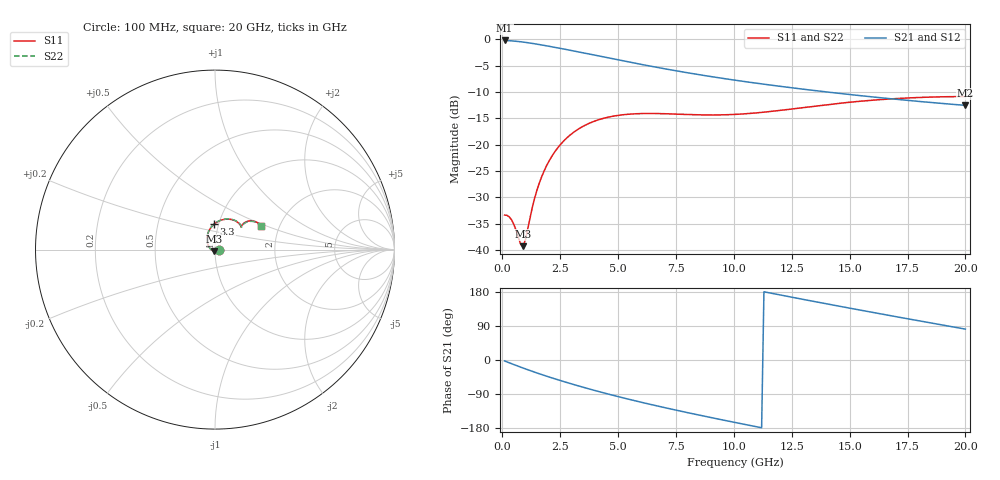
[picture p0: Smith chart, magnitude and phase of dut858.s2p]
! Touchstone file exported from HFSS 2024.1.0
!  File:  C:/UserFiles/LocalFiles/RDL_TSV_Batchsim/temp_RDL_TSV_858_1779924747.aedt
!  Generated:  07:48:22 AM May 28, 2026
!  Design:  RDL_TSV
!  Project:  temp_RDL_TSV_858_1779924747
!  Setup:  Setup1
!  Solution:  Sweep
! Variables:
!  dtsv = 13.11um
!  hbump = 3um
!  htsv = 91.13um
!  ldown = 679.86um
!  lrdl = 468.39um
!  p = 40
!  p1 = 45.71um
!  rhole = 10um
!  subl = 3913.14um
!  t = 450um
!  tdown = 2.6um
!  trdl = 4.34um
!  viad = 10um
!  wdown = 18.28um
!  wrdl = 24.45um
!  xbump = 18um
# GHz S MA R 50.000000
! Terminal data exported
! Port[1] = TM1_1_T1
! Port[2] = TM1_4_T1
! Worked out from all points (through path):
!   200 points, 100 MHz to 20 GHz, reference 50 ohm
!   highest |S21| = -0.20 dB at 100 MHz (marker M1); lowest = -12.5 dB at 20 GHz (marker M2)
!   group delay of S21, straight-line fit = 36.7 ps
!   lowest |S11| = -39.3 dB at 900 MHz (marker M3), VSWR 1.02, Z = 49.5 - j0.978 ohm
!   |S11| at or under -10 dB: start of sweep to end of sweep
!   |S22| runs from -39.3 to -10.9 dB; largest |S21 - S12| = 8.8e-15
!   S11 on the Smith chart (normalised r, x): 100 MHz: 1.04, -0.00; 3.3 GHz: 0.95, +0.27; 20 GHz: 1.60, +0.46
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0.1  0.02146 -4.4  0.9777 -2.5  0.9777 -2.5  0.02146 -4.4
! Gamma 0 0 0 0
! Port Impedance 50 0 50 0
0.4  0.01933 -25.3  0.9691 -9.7  0.9691 -9.7  0.01933 -25.3
0.8  0.01122 -86.2  0.9498 -19.0  0.9498 -19.0  0.01122 -86.4
0.9  0.01086 -114.7  0.9438 -21.3  0.9438 -21.3  0.01088 -114.8
1  0.01251 -142.4  0.9375 -23.5  0.9375 -23.5  0.01255 -142.5
1.4  0.03121 162.2  0.9092 -32.2  0.9092 -32.2  0.03131 162.2
1.6  0.04327 149.1  0.8939 -36.4  0.8939 -36.4  0.0434 149.1
1.9  0.06227 134.5  0.8704 -42.5  0.8704 -42.5  0.06246 134.6
2.5  0.09961 113.1  0.8227 -54.1  0.8227 -54.1  0.09993 113.2
3.3  0.1415 92.1  0.7605 -68.6  0.7605 -68.6  0.142 92.2
3.5  0.15 87.7  0.7454 -72.1  0.7454 -72.1  0.1506 87.8
4.2  0.1737 74.4  0.6943 -83.8  0.6943 -83.8  0.1745 74.5
5.1  0.1911 61.3  0.6335 -98.1  0.6335 -98.1  0.1922 61.3
5.9  0.1972 52.7  0.5849 -110.0  0.5849 -110.0  0.1985 52.6
6.8  0.1974 46.0  0.5367 -122.8  0.5367 -122.8  0.199 45.9
8.3  0.1926 40.9  0.4701 -142.8  0.4701 -142.8  0.1943 40.6
10.1  0.1942 41.1  0.4085 -165.4  0.4085 -165.4  0.1956 40.5
11.8  0.2093 42.4  0.3632 174.0  0.3632 174.0  0.21 41.7
13.4  0.231 41.8  0.3285 155.2  0.3285 155.2  0.2311 41.1
15  0.253 39.3  0.2997 136.8  0.2997 136.8  0.2526 38.6
16.7  0.2715 35.3  0.2741 117.7  0.2741 117.7  0.2707 34.7
20  0.2869 27.3  0.2364 81.5  0.2364 81.5  0.2857 26.8
